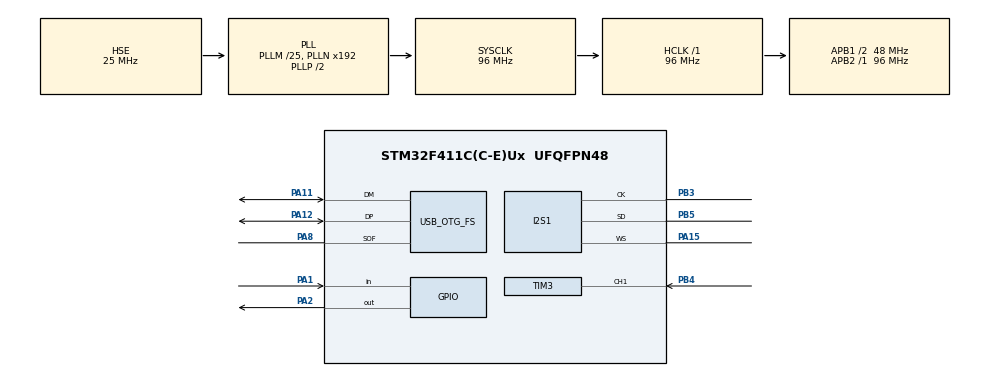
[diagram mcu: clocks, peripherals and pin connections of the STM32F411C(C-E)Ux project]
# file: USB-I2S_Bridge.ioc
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Dma.Request0=SPI1_TX
Dma.SPI1_TX.0.Direction=DMA_MEMORY_TO_PERIPH
Dma.SPI1_TX.0.FIFOMode=DMA_FIFOMODE_DISABLE
Dma.SPI1_TX.0.Instance=DMA2_Stream2
Dma.SPI1_TX.0.MemDataAlignment=DMA_MDATAALIGN_HALFWORD
Dma.SPI1_TX.0.MemInc=DMA_MINC_ENABLE
Dma.SPI1_TX.0.Mode=DMA_CIRCULAR
Dma.SPI1_TX.0.PeriphDataAlignment=DMA_PDATAALIGN_HALFWORD
Dma.SPI1_TX.0.PeriphInc=DMA_PINC_DISABLE
Dma.SPI1_TX.0.Priority=DMA_PRIORITY_VERY_HIGH
I2S1.AudioFreq=I2S_AUDIOFREQ_48K
I2S1.DataFormat=I2S_DATAFORMAT_16B_EXTENDED
I2S1.ErrorAudioFreq=-0.35 %
I2S1.FullDuplexMode=I2S_FULLDUPLEXMODE_DISABLE
I2S1.Instance=SPI$Index
I2S1.RealAudioFreq=47.831 KHz
I2S1.VirtualMode=I2S_MODE_SLAVE
Mcu.Family=STM32F4
Mcu.Name=STM32F411C(C-E)Ux
Mcu.Package=UFQFPN48
NVIC.DMA2_Stream2_IRQn=true\:0\:0\:false\:false\:true\:false\:true\:true
NVIC.OTG_FS_IRQn=true\:0\:0\:false\:false\:true\:false\:true\:true
NVIC.PriorityGroup=NVIC_PRIORITYGROUP_4
PA1.GPIO_PuPd=GPIO_PULLDOWN
PA1.Signal=GPIO_Input
PA11.Mode=Device_Only
PA11.Signal=USB_OTG_FS_DM
PA12.Mode=Device_Only
PA12.Signal=USB_OTG_FS_DP
PA15.Mode=Half_Duplex_Slave
PA15.Signal=I2S1_WS
PA2.Signal=GPIO_Output
PA8.Mode=Activate_SOF_FS
PA8.Signal=USB_OTG_FS_SOF
PB3.Mode=Half_Duplex_Slave
PB3.Signal=I2S1_CK
PB4.Signal=S_TIM3_CH1
PB5.Mode=Half_Duplex_Slave
PB5.Signal=I2S1_SD
PH0\ -\ OSC_IN.Mode=HSE-External-Oscillator
PH0\ -\ OSC_IN.Signal=RCC_OSC_IN
PH1\ -\ OSC_OUT.Mode=HSE-External-Oscillator
PH1\ -\ OSC_OUT.Signal=RCC_OSC_OUT
ProjectManager.HeapSize=0x200
ProjectManager.StackSize=0x400
ProjectManager.TargetToolchain=STM32CubeIDE
RCC.48MHZClocksFreq_Value=48000000
RCC.AHBFreq_Value=96000000
RCC.APB1CLKDivider=RCC_HCLK_DIV2
RCC.APB1Freq_Value=48000000
RCC.APB1TimFreq_Value=96000000
RCC.APB2Freq_Value=96000000
RCC.APB2TimFreq_Value=96000000
RCC.CortexFreq_Value=96000000
RCC.HCLKFreq_Value=96000000
RCC.HSE_VALUE=25000000
RCC.HSI_VALUE=16000000
RCC.LSE_VALUE=32768
RCC.PLLM=25
RCC.SYSCLKFreq_VALUE=96000000
RCC.SYSCLKSource=RCC_SYSCLKSOURCE_PLLCLK
RCC.VCOOutputFreq_Value=192000000
SH.S_TIM3_CH1.0=TIM3_CH1,TriggerSource_TI1FP1
USB_DEVICE.CLASS_NAME_FS=AUDIO
USB_DEVICE.LANGID_STRING=1033
USB_DEVICE.PRODUCT_STRING_AUDIO_FS=MXC-03
USB_DEVICE.USBD_AUDIO_FREQ=48000
USB_DEVICE.VirtualMode=Audio
USB_DEVICE.VirtualModeFS=Audio_FS
USB_OTG_FS.VirtualMode=Device_Only
VP_TIM3_VS_ControllerModeClock.Mode=Clock Mode
VP_USB_DEVICE_VS_USB_DEVICE_AUDIO_FS.Mode=AUDIO_FS
board=custom

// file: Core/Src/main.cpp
/* USER CODE BEGIN Header */
/**
 ******************************************************************************
 * @file           : main.c
 * @brief          : Main program body
 ******************************************************************************
 * @attention
 *
 * Copyright (c) 2026 STMicroelectronics.
 * All rights reserved.
 *
 * This software is licensed under terms that can be found in the LICENSE file
 * in the root directory of this software component.
 * If no LICENSE file comes with this software, it is provided AS-IS.
 *
 ******************************************************************************
 */
/* USER CODE END Header */
#include "main.h"
#include "usb_device.h"

/* USER CODE BEGIN Includes */
#include "audio_ring_buffer.hpp"

#include <array>
#include <cmath>
#include <cstdint>

/* USER CODE END Includes */

/* USER CODE BEGIN PD */
namespace AudioConfig {
constexpr uint32_t SampleRate{48000};
constexpr uint32_t Channels{2};
constexpr uint32_t FramesPerBlock{SampleRate / 1000};
constexpr uint32_t SamplesPerBlock{FramesPerBlock * Channels};
constexpr uint32_t DMABufferSize{SamplesPerBlock * 2};
constexpr uint32_t HalfDMABufferSize{DMABufferSize / 2};
constexpr uint32_t USBRingBufferSize{2048};

namespace VolumeCurve {
constexpr int16_t MinDb256{-20480};
constexpr int16_t MaxDb256{1536};
constexpr float MinDb{-80.0f};
constexpr float MaxDb{6.0f};
constexpr float LiftGamma{0.65f};

constexpr uint32_t Q15Unity{32768U};
constexpr uint32_t Q15Max{65535U};
constexpr int32_t AudioSampleMin{-32768};
constexpr int32_t AudioSampleMax{32767};
constexpr int32_t Q15RoundOffset{1 << 14};
constexpr int32_t Q15Shift{15};
} // namespace VolumeCurve

namespace LinkSync {
constexpr int16_t PatternWord{static_cast<int16_t>(0x96A5)};
constexpr uint32_t RetryChunksBeforeRestart{32};
} // namespace LinkSync
} // namespace AudioConfig

volatile uint32_t g_debug_samples_in = 0;
volatile uint32_t g_debug_samples_out = 0;
volatile uint32_t g_debug_dma_half_callbacks = 0;
volatile uint32_t g_debug_dma_full_callbacks = 0;

/* USER CODE END PD */

I2S_HandleTypeDef hi2s1;
DMA_HandleTypeDef hdma_spi1_tx;

TIM_HandleTypeDef htim3;

/* USER CODE BEGIN PV */
__attribute__((aligned(32))) std::array<int16_t, AudioConfig::DMABufferSize>
    txBuffer;
AudioRingBuffer<int16_t, AudioConfig::USBRingBufferSize> rxBuffer;
volatile uint32_t gStreamLockAcquired{0};
volatile uint32_t gDummyChunksWithoutLock{0};
volatile uint32_t gRequestTxRestart{0};
volatile uint32_t gH723ReadyWasAsserted{0};
volatile uint32_t gUsbGainQ15{AudioConfig::VolumeCurve::Q15Unity};
volatile uint32_t gUsbMute{0U};
/* USER CODE END PV */

void SystemClock_Config(void);
static void MX_GPIO_Init(void);
static void MX_DMA_Init(void);
static void MX_I2S1_Init(void);
static void MX_TIM3_Init(void);

/* USER CODE BEGIN 0 */
static void setF411Ready(bool active) {
  HAL_GPIO_WritePin(F411_READY_OUT_GPIO_Port, F411_READY_OUT_Pin,
                    active ? GPIO_PIN_SET : GPIO_PIN_RESET);
}

static bool restartI2STxDma() {
  auto *pTx{reinterpret_cast<uint16_t *>(txBuffer.data())};

  setF411Ready(false);
  if (HAL_I2S_DMAStop(&hi2s1) != HAL_OK) {
    return false;
  }
  if (HAL_I2S_Transmit_DMA(&hi2s1, pTx,
                           static_cast<uint16_t>(txBuffer.size())) != HAL_OK) {
    return false;
  }
  setF411Ready(true);
  return true;
}

static float clamp01(float v) {
  if (v < 0.0f) {
    return 0.0f;
  }
  if (v > 1.0f) {
    return 1.0f;
  }
  return v;
}

static uint32_t volumeDb256ToQ15(int16_t volDb256) {
  int16_t clampedDb256 = volDb256;
  if (clampedDb256 < AudioConfig::VolumeCurve::MinDb256) {
    clampedDb256 = AudioConfig::VolumeCurve::MinDb256;
  } else if (clampedDb256 > AudioConfig::VolumeCurve::MaxDb256) {
    clampedDb256 = AudioConfig::VolumeCurve::MaxDb256;
  }

  const float rawDb = static_cast<float>(clampedDb256) / 256.0f;
  const float normalized =
      (rawDb - AudioConfig::VolumeCurve::MinDb) /
      (AudioConfig::VolumeCurve::MaxDb - AudioConfig::VolumeCurve::MinDb);
  const float shaped = powf(clamp01(normalized), AudioConfig::VolumeCurve::LiftGamma);
  const float effectiveDb =
      AudioConfig::VolumeCurve::MinDb +
      (AudioConfig::VolumeCurve::MaxDb - AudioConfig::VolumeCurve::MinDb) * shaped;

  const float gain = powf(10.0f, effectiveDb / 20.0f);
  int32_t gainQ15 = static_cast<int32_t>(gain * static_cast<float>(AudioConfig::VolumeCurve::Q15Unity) + 0.5f);

  if (gainQ15 < 0) {
    gainQ15 = 0;
  } else if (gainQ15 > static_cast<int32_t>(AudioConfig::VolumeCurve::Q15Max)) {
    gainQ15 = static_cast<int32_t>(AudioConfig::VolumeCurve::Q15Max);
  }

  return static_cast<uint32_t>(gainQ15);
}

static int16_t scaleAndSaturateSampleQ15(int16_t sample, uint32_t gainQ15) {
  int32_t scaled =
      (static_cast<int32_t>(sample) * static_cast<int32_t>(gainQ15) +
       AudioConfig::VolumeCurve::Q15RoundOffset) >>
      AudioConfig::VolumeCurve::Q15Shift;

  if (scaled > AudioConfig::VolumeCurve::AudioSampleMax) {
    scaled = AudioConfig::VolumeCurve::AudioSampleMax;
  } else if (scaled < AudioConfig::VolumeCurve::AudioSampleMin) {
    scaled = AudioConfig::VolumeCurve::AudioSampleMin;
  }

  return static_cast<int16_t>(scaled);
}

static void resetLinkSyncState() {
  gStreamLockAcquired = 0U;
  gDummyChunksWithoutLock = 0U;
  gRequestTxRestart = 1U;
  rxBuffer.reset();
}

static bool updateStreamLockState(bool h723ReadyNow) {
  if (!h723ReadyNow && gH723ReadyWasAsserted != 0U) {
    resetLinkSyncState();
  }

  if (gStreamLockAcquired == 0U && h723ReadyNow) {
    gStreamLockAcquired = 1U;
    gDummyChunksWithoutLock = 0U;
  }

  gH723ReadyWasAsserted = h723ReadyNow ? 1U : 0U;
  return gStreamLockAcquired != 0U;
}

static void renderDummyAudioBlock(uint32_t start, uint32_t end) {
  ++gDummyChunksWithoutLock;
  if (gDummyChunksWithoutLock >= AudioConfig::LinkSync::RetryChunksBeforeRestart) {
    gDummyChunksWithoutLock = 0U;
    gRequestTxRestart = 1U;
  }

  for (uint32_t i = start; i < end; ++i) {
    txBuffer[i] = AudioConfig::LinkSync::PatternWord;
  }
}

static void renderUsbAudioBlock(uint32_t start, uint32_t end) {
  static std::array<int16_t, AudioConfig::HalfDMABufferSize> tempBuf;

  const uint32_t numSamples{end - start};
  rxBuffer.read(tempBuf.data(), numSamples);
  g_debug_samples_out += numSamples;

  const uint32_t gainQ15 = (gUsbMute != 0U) ? 0U : gUsbGainQ15;

  for (uint32_t i = start, j = 0; i < end; ++i, ++j) {
    txBuffer[i] = scaleAndSaturateSampleQ15(tempBuf[j], gainQ15);
  }
}

static void handleAudioBlock(uint32_t start, uint32_t end) {
  const bool h723ReadyNow = HAL_GPIO_ReadPin(H723_READY_IN_GPIO_Port,
                                             H723_READY_IN_Pin) == GPIO_PIN_SET;

  if (!updateStreamLockState(h723ReadyNow)) {
    renderDummyAudioBlock(start, end);
    return;
  }

  renderUsbAudioBlock(start, end);
}

/* USER CODE END 0 */

int main(void)
{

  /* MCU Configuration--------------------------------------------------------*/

  /* Reset of all peripherals, Initializes the Flash interface and the Systick. */
  HAL_Init();

  /* Configure the system clock */
  SystemClock_Config();

  /* Initialize all configured peripherals */
  MX_GPIO_Init();
  MX_DMA_Init();
  MX_USB_DEVICE_Init();
  MX_I2S1_Init();
  MX_TIM3_Init();
  /* USER CODE BEGIN 2 */
  setF411Ready(false);

  auto *pTx{reinterpret_cast<uint16_t *>(txBuffer.data())};
  if (HAL_I2S_Transmit_DMA(&hi2s1, pTx,
                           static_cast<uint16_t>(txBuffer.size())) != HAL_OK) {
    Error_Handler();
  }

  setF411Ready(true);

  if (HAL_TIM_Base_Start(&htim3) != HAL_OK)
  {
    Error_Handler();
  }
  /* USER CODE END 2 */

  /* Infinite loop */
  while (1) {

    /* USER CODE BEGIN 3 */
    if (gRequestTxRestart != 0U && gStreamLockAcquired == 0U) {
      gRequestTxRestart = 0U;
      if (!restartI2STxDma()) {
        Error_Handler();
      }
    }
  }
  /* USER CODE END 3 */
}

void SystemClock_Config(void)
{
  RCC_OscInitTypeDef RCC_OscInitStruct = {0};
  RCC_ClkInitTypeDef RCC_ClkInitStruct = {0};

  /** Configure the main internal regulator output voltage
  */
  __HAL_RCC_PWR_CLK_ENABLE();
  __HAL_PWR_VOLTAGESCALING_CONFIG(PWR_REGULATOR_VOLTAGE_SCALE1);

  /** Initializes the RCC Oscillators according to the specified parameters
  * in the RCC_OscInitTypeDef structure.
  */
  RCC_OscInitStruct.OscillatorType = RCC_OSCILLATORTYPE_HSE;
  RCC_OscInitStruct.HSEState = RCC_HSE_ON;
  RCC_OscInitStruct.PLL.PLLState = RCC_PLL_ON;
  RCC_OscInitStruct.PLL.PLLSource = RCC_PLLSOURCE_HSE;
  RCC_OscInitStruct.PLL.PLLM = 25;
  RCC_OscInitStruct.PLL.PLLN = 192;
  RCC_OscInitStruct.PLL.PLLP = RCC_PLLP_DIV2;
  RCC_OscInitStruct.PLL.PLLQ = 4;
  if (HAL_RCC_OscConfig(&RCC_OscInitStruct) != HAL_OK)
  {
    Error_Handler();
  }

  /** Initializes the CPU, AHB and APB buses clocks
  */
  RCC_ClkInitStruct.ClockType = RCC_CLOCKTYPE_HCLK|RCC_CLOCKTYPE_SYSCLK
                              |RCC_CLOCKTYPE_PCLK1|RCC_CLOCKTYPE_PCLK2;
  RCC_ClkInitStruct.SYSCLKSource = RCC_SYSCLKSOURCE_PLLCLK;
  RCC_ClkInitStruct.AHBCLKDivider = RCC_SYSCLK_DIV1;
  RCC_ClkInitStruct.APB1CLKDivider = RCC_HCLK_DIV2;
  RCC_ClkInitStruct.APB2CLKDivider = RCC_HCLK_DIV1;

  if (HAL_RCC_ClockConfig(&RCC_ClkInitStruct, FLASH_LATENCY_3) != HAL_OK)
  {
    Error_Handler();
  }
}

static void MX_I2S1_Init(void)
{

  hi2s1.Instance = SPI1;
  hi2s1.Init.Mode = I2S_MODE_SLAVE_TX;
  hi2s1.Init.Standard = I2S_STANDARD_PHILIPS;
  hi2s1.Init.DataFormat = I2S_DATAFORMAT_16B_EXTENDED;
  hi2s1.Init.MCLKOutput = I2S_MCLKOUTPUT_DISABLE;
  hi2s1.Init.AudioFreq = I2S_AUDIOFREQ_48K;
  hi2s1.Init.CPOL = I2S_CPOL_LOW;
  hi2s1.Init.ClockSource = I2S_CLOCK_PLL;
  hi2s1.Init.FullDuplexMode = I2S_FULLDUPLEXMODE_DISABLE;
  if (HAL_I2S_Init(&hi2s1) != HAL_OK)
  {
    Error_Handler();
  }

}

static void MX_TIM3_Init(void)
{

  TIM_SlaveConfigTypeDef sSlaveConfig = {0};
  TIM_MasterConfigTypeDef sMasterConfig = {0};

  htim3.Instance = TIM3;
  htim3.Init.Prescaler = 0;
  htim3.Init.CounterMode = TIM_COUNTERMODE_UP;
  htim3.Init.Period = 65535;
  htim3.Init.ClockDivision = TIM_CLOCKDIVISION_DIV1;
  htim3.Init.AutoReloadPreload = TIM_AUTORELOAD_PRELOAD_DISABLE;
  if (HAL_TIM_Base_Init(&htim3) != HAL_OK)
  {
    Error_Handler();
  }
  sSlaveConfig.SlaveMode = TIM_SLAVEMODE_EXTERNAL1;
  sSlaveConfig.InputTrigger = TIM_TS_TI1FP1;
  sSlaveConfig.TriggerPolarity = TIM_TRIGGERPOLARITY_RISING;
  sSlaveConfig.TriggerFilter = 0;
  if (HAL_TIM_SlaveConfigSynchro(&htim3, &sSlaveConfig) != HAL_OK)
  {
    Error_Handler();
  }
  sMasterConfig.MasterOutputTrigger = TIM_TRGO_RESET;
  sMasterConfig.MasterSlaveMode = TIM_MASTERSLAVEMODE_DISABLE;
  if (HAL_TIMEx_MasterConfigSynchronization(&htim3, &sMasterConfig) != HAL_OK)
  {
    Error_Handler();
  }

}

static void MX_DMA_Init(void)
{

  /* DMA controller clock enable */
  __HAL_RCC_DMA2_CLK_ENABLE();

  /* DMA interrupt init */
  /* DMA2_Stream2_IRQn interrupt configuration */
  HAL_NVIC_SetPriority(DMA2_Stream2_IRQn, 0, 0);
  HAL_NVIC_EnableIRQ(DMA2_Stream2_IRQn);

}

static void MX_GPIO_Init(void)
{
  GPIO_InitTypeDef GPIO_InitStruct = {0};

  /* GPIO Ports Clock Enable */
  __HAL_RCC_GPIOH_CLK_ENABLE();
  __HAL_RCC_GPIOA_CLK_ENABLE();
  __HAL_RCC_GPIOB_CLK_ENABLE();

  /*Configure GPIO pin Output Level */
  HAL_GPIO_WritePin(GPIOA, GPIO_PIN_2, GPIO_PIN_RESET);

  /*Configure GPIO pin : PA1 */
  GPIO_InitStruct.Pin = GPIO_PIN_1;
  GPIO_InitStruct.Mode = GPIO_MODE_INPUT;
  GPIO_InitStruct.Pull = GPIO_PULLDOWN;
  HAL_GPIO_Init(GPIOA, &GPIO_InitStruct);

  /*Configure GPIO pin : PA2 */
  GPIO_InitStruct.Pin = GPIO_PIN_2;
  GPIO_InitStruct.Mode = GPIO_MODE_OUTPUT_PP;
  GPIO_InitStruct.Pull = GPIO_NOPULL;
  GPIO_InitStruct.Speed = GPIO_SPEED_FREQ_LOW;
  HAL_GPIO_Init(GPIOA, &GPIO_InitStruct);

}

/* USER CODE BEGIN 4 */
extern "C" {
void setUsbVolumeDb256(int16_t volDb256) {
  gUsbGainQ15 = volumeDb256ToQ15(volDb256);
}

void setUsbMuteState(uint8_t mute) { gUsbMute = (mute != 0U) ? 1U : 0U; }

void rxBufferReset() {
  rxBuffer.reset();
}

int32_t rxBufferGetAvailableFrames() {
  return static_cast<int32_t>(rxBuffer.getAvailableFrames());
}
void rxBufferWrite(int16_t *data, uint32_t length) {
  if (gStreamLockAcquired == 0U) {
    return;
  }

  rxBuffer.write(data, length);
  g_debug_samples_in += length;
}
void HAL_I2S_TxHalfCpltCallback(I2S_HandleTypeDef *hi2s) {
  if (hi2s == &hi2s1) {
    ++g_debug_dma_half_callbacks;
    handleAudioBlock(0, AudioConfig::HalfDMABufferSize);
  }
}
void HAL_I2S_TxCpltCallback(I2S_HandleTypeDef *hi2s) {
  if (hi2s == &hi2s1) {
    ++g_debug_dma_full_callbacks;
    handleAudioBlock(AudioConfig::HalfDMABufferSize,
                     AudioConfig::DMABufferSize);
  }
}
}
/* USER CODE END 4 */

void Error_Handler(void)
{
  __disable_irq();
  while (1) {
  }
}

#ifdef  USE_FULL_ASSERT
/**
  * @brief  Reports the name of the source file and the source line number
  *         where the assert_param error has occurred.
  * @param  file: pointer to the source file name
  * @param  line: assert_param error line source number
  * @retval None
  */
void assert_failed(uint8_t *file, uint32_t line)
{
  /* USER CODE BEGIN 6 */
  /* User can add his own implementation to report the file name and line
     number, ex: printf("Wrong parameters value: file %s on line %d\r\n", file,
     line) */
  /* USER CODE END 6 */
}
#endif /* USE_FULL_ASSERT */
